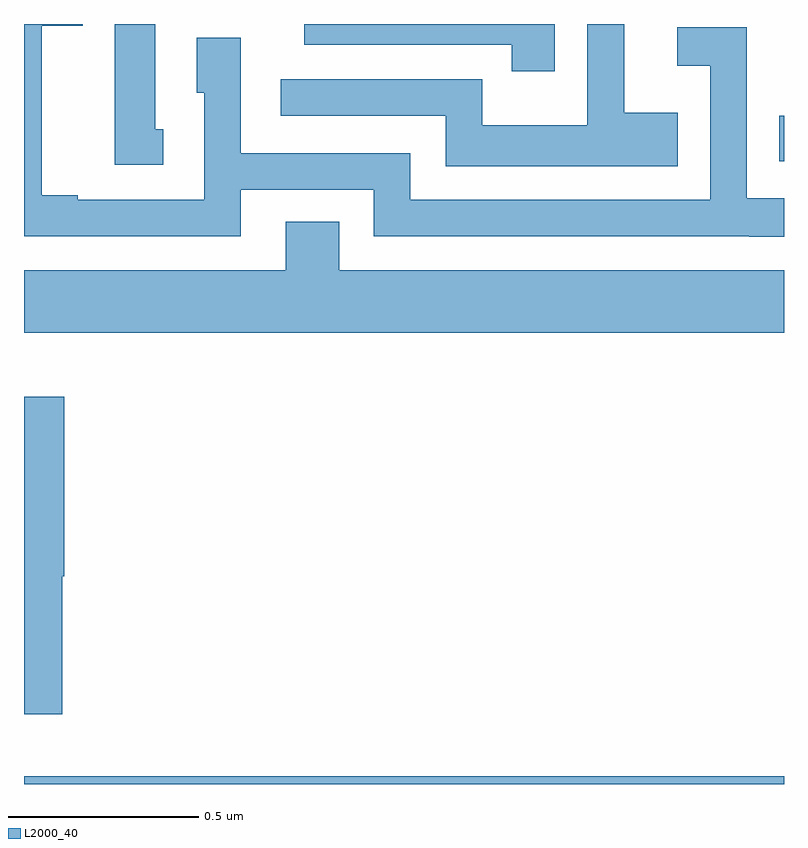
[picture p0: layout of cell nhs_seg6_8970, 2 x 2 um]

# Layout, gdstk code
import gdstk
lib = gdstk.Library(unit=1e-6, precision=1e-09)
def R(c, l, rs):  # rectangles x0, y0, x1, y1
    for r in rs: c.add(gdstk.rectangle(r[:2], r[2:], *l))
def P(c, l, *ps):  # polygons
    for p in ps: c.add(gdstk.Polygon(p, *l))
L2000_40 = (2000, 40)

nhs_seg6_8970 = lib.new_cell('nhs_seg6_8970')
R(nhs_seg6_8970, L2000_40, [(228,927.5,230,927.52), (229.987,929.139,230,929.259)])
P(nhs_seg6_8970, L2000_40, [(229.721,929.266),(229.579,929.266),(229.579,929.5),(229.482,929.5),(229.482,929.233),(229.206,929.233),(229.206,929.354),(229.103,929.354),(229.103,929.355),(228.675,929.355),(228.675,929.259),(229.11,929.259),(229.11,929.126),(229.721,929.126)],
  [(230,929.041),(229.902,929.041),(229.902,929.491),(229.719,929.491),(229.719,929.39),(229.806,929.39),(229.806,929.037),(229.017,929.037),(229.017,929.16),(228.57,929.16),(228.57,929.464),(228.455,929.464),(228.455,929.319),(228.474,929.319),(228.474,929.037),(228.142,929.037),(228.142,929.05),(228.047,929.05),(228.047,929.496),(228.154,929.496),(228.154,929.5),(228,929.5),(228,928.941),(228.57,928.941),(228.57,929.064),(228.921,929.064),(228.921,928.941),(229.909,928.941),(229.909,928.94),(230,928.94)],
  [(228.367,929.223),(228.346,929.223),(228.346,929.5),(228.239,929.5),(228.239,929.13),(228.367,929.13)],
  [(229.397,929.5),(228.737,929.5),(228.737,929.445),(229.284,929.445),(229.284,929.376),(229.397,929.376)],
  [(230,928.852),(228.829,928.852),(228.829,928.979),(228.689,928.979),(228.689,928.852),(228,928.852),(228,928.688),(230,928.688)],
  [(228.101,928.047),(228.106,928.047),(228.106,928.519),(228,928.519),(228,927.684),(228.101,927.684)])

lib.write_gds('nhs_seg6_8970.gds')
